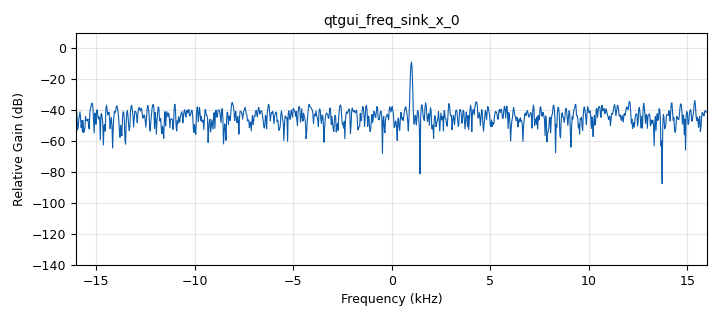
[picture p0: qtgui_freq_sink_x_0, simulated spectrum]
<?xml version='1.0' encoding='utf-8'?>
<?grc format='1' created='3.7.10'?>
<flow_graph>
<block>
<key>options</key>
<param><key>id</key><value>signal_source_noise</value></param>
<param><key>author</key><value>Ettus Research</value></param>
<param><key>category</key><value>Custom</value></param>
<param><key>description</key><value>Simple Signal Source and Noise demo</value></param>
<param><key>generate_options</key><value>qt_gui</value></param>
<param><key>title</key><value>Signal Source Noise</value></param>
</block>
<block>
<key>variable_qtgui_range</key>
<param><key>id</key><value>amp</value></param>
<param><key>value</key><value>0.5</value></param>
<param><key>orient</key><value>Qt.Horizontal</value></param>
<param><key>start</key><value>0</value></param>
<param><key>step</key><value>.1</value></param>
<param><key>stop</key><value>1</value></param>
</block>
<block>
<key>variable_qtgui_range</key>
<param><key>id</key><value>freq</value></param>
<param><key>value</key><value>1e3</value></param>
<param><key>orient</key><value>Qt.Horizontal</value></param>
<param><key>start</key><value>0</value></param>
<param><key>step</key><value>1000</value></param>
<param><key>stop</key><value>32e3</value></param>
</block>
<block>
<key>variable</key>
<param><key>id</key><value>samp_rate</value></param>
<param><key>value</key><value>32e3</value></param>
</block>
<block>
<key>analog_noise_source_x</key>
<param><key>id</key><value>analog_noise_source_x_0</value></param>
<param><key>amp</key><value>amp</value></param>
<param><key>noise_type</key><value>analog.GR_GAUSSIAN</value></param>
<param><key>type</key><value>complex</value></param>
<param><key>seed</key><value>0</value></param>
</block>
<block>
<key>analog_sig_source_x</key>
<param><key>id</key><value>analog_sig_source_x_0</value></param>
<param><key>amp</key><value>1</value></param>
<param><key>freq</key><value>freq</value></param>
<param><key>offset</key><value>0</value></param>
<param><key>type</key><value>complex</value></param>
<param><key>samp_rate</key><value>samp_rate</value></param>
<param><key>waveform</key><value>analog.GR_COS_WAVE</value></param>
</block>
<block>
<key>blocks_add_xx</key>
<param><key>id</key><value>blocks_add_xx_0</value></param>
<param><key>type</key><value>complex</value></param>
</block>
<block>
<key>blocks_throttle</key>
<param><key>id</key><value>blocks_throttle_0</value></param>
<param><key>samples_per_second</key><value>samp_rate</value></param>
<param><key>type</key><value>complex</value></param>
</block>
<block>
<key>qtgui_freq_sink_x</key>
<param><key>id</key><value>qtgui_freq_sink_x_0</value></param>
<param><key>bw</key><value>samp_rate</value></param>
<param><key>fc</key><value>0</value></param>
<param><key>fftsize</key><value>1024</value></param>
<param><key>showports</key><value>True</value></param>
<param><key>type</key><value>complex</value></param>
<param><key>wintype</key><value>firdes.WIN_BLACKMAN_hARRIS</value></param>
</block>
<connection><source_block_id>analog_noise_source_x_0</source_block_id><sink_block_id>blocks_add_xx_0</sink_block_id><source_key>0</source_key><sink_key>1</sink_key></connection>
<connection><source_block_id>analog_sig_source_x_0</source_block_id><sink_block_id>blocks_throttle_0</sink_block_id><source_key>0</source_key><sink_key>0</sink_key></connection>
<connection><source_block_id>blocks_add_xx_0</source_block_id><sink_block_id>qtgui_freq_sink_x_0</sink_block_id><source_key>0</source_key><sink_key>0</sink_key></connection>
<connection><source_block_id>blocks_throttle_0</source_block_id><sink_block_id>blocks_add_xx_0</sink_block_id><source_key>0</source_key><sink_key>0</sink_key></connection>
</flow_graph>
